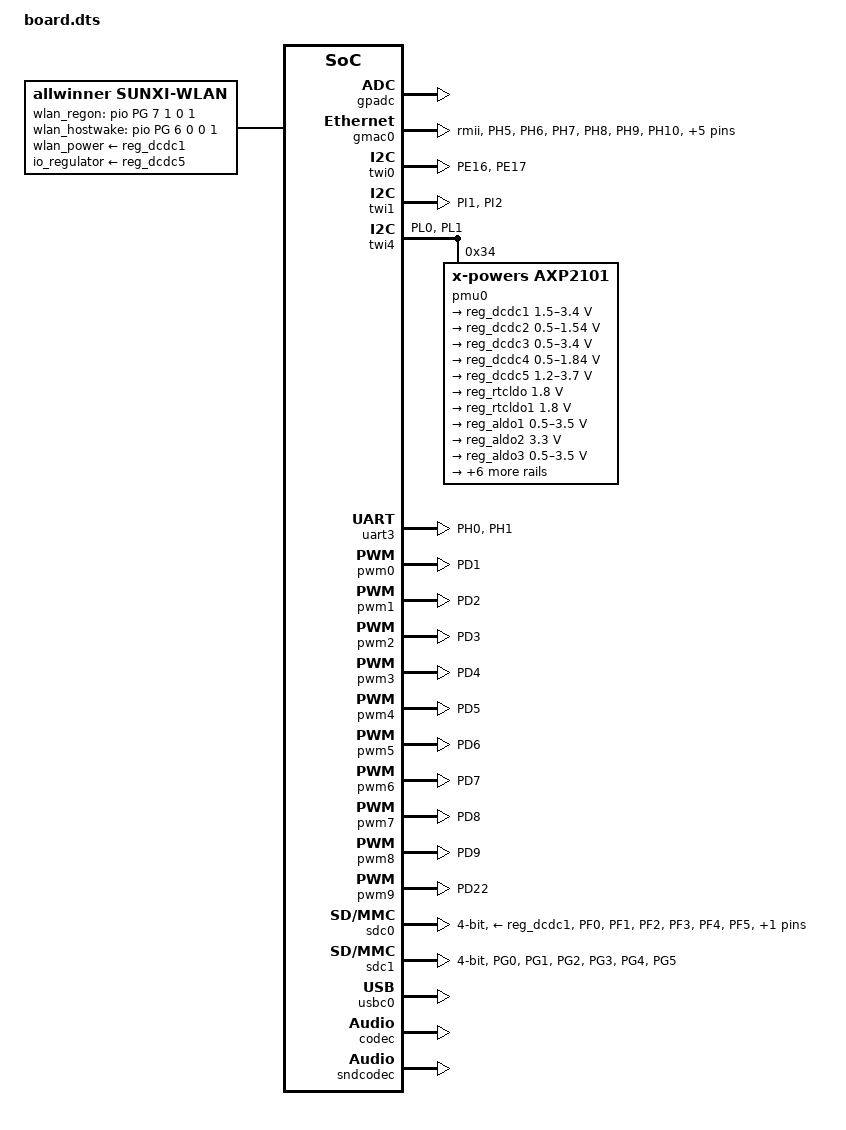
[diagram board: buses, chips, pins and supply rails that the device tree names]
/*
 * Allwinner Technology CO., Ltd. sun8iw19p1 soc board.
 *
 * soc board support.
 */

/dts-v1/;

#include "sun8iw19p1.dtsi"

/{
	aliases {
		pmu0 = &pmu0;
		standby_param = &standby_param;
	};

	dram: dram {
		dram_clk = <0x000001e0>;
		dram_type = <0x00000003>;
		dram_zq = <0x00003bfb>;
		dram_odt_en = <0x00000001>;
		dram_para1 = <0x004310f2>;
		dram_para2 = <0x02000000>;
		dram_mr0 = <0x00001c70>;
		dram_mr1 = <0x00000000>;
		dram_mr2 = <0x00000018>;
		dram_mr3 = <0x00000000>;
		dram_tpr0 = <0x0046190d>;
		dram_tpr1 = <0x0121210a>;
		dram_tpr2 = <0x0005403b>;
		dram_tpr3 = <0x00002006>;
		dram_tpr4 = <0x05040405>;
		dram_tpr5 = <0x05050302>;
		dram_tpr6 = <0x90006644>;
		dram_tpr7 = <0x42c21590>;
		dram_tpr8 = <0xd05612c0>;
		dram_tpr9 = <0x00083def>;
		dram_tpr10 = <0x00000000>;
		dram_tpr11 = <0x00210000>;
		dram_tpr12 = <0x00000055>;
		dram_tpr13 = <0x00006003>;
	};

	opp_dvfs_table:opp_dvfs_table {
		cluster_num = <1>;
		opp_table_count = <1>;

		cpu_opp_l_table0: opp_l_table0 {
			/* compatible = "operating-points-v2"; */
			compatible = "allwinner,opp_l_table0";
			opp_count = <6>;
			opp-shared;

			op00 {
				opp-hz = /bits/ 64 <600000000>;
				opp-microvolt = <900000>;
				axi-bus-divide-ratio = <3>;
				clock-latency-ns = <2000000>;
			};

			opp01 {
				opp-hz = /bits/ 64 <816000000>;
				opp-microvolt = <900000>;
				axi-bus-divide-ratio = <3>;
				clock-latency-ns = <2000000>;
			};

			opp02 {
				opp-hz = /bits/ 64 <912000000>;
				opp-microvolt = <900000>;
				axi-bus-divide-ratio = <3>;
				clock-latency-ns = <2000000>;
			};

			opp03 {
				opp-hz = /bits/ 64 <1008000000>;
				opp-microvolt = <900000>;
				axi-bus-divide-ratio = <3>;
				clock-latency-ns = <2000000>;
			};

			opp04 {
				opp-hz = /bits/ 64 <1104000000>;
				opp-microvolt = <1000000>;
				axi-bus-divide-ratio = <3>;
				clock-latency-ns = <2000000>;
			};
			opp05 {
				opp-hz = /bits/ 64 <1200000000>;
				opp-microvolt = <1000000>;
				axi-bus-divide-ratio = <3>;
				clock-latency-ns = <2000000>;
			};
		};
	};

	cpus {
		cpu@0 {
			cpu-supply = <&reg_dcdc3>;
		};
	};
	soc@03000000 {

		r_pio: pinctrl@07022000 {
			compatible = "allwinner,sun8iw19p1-r-pinctrl";
			reg = <0x0 0x07022000 0x0 0x400>;
			interrupts = <GIC_SPI 106 4>;
			clocks = <&clk_cpurpio>;
			device_type = "r_pio";
			gpio-controller;
			interrupt-controller;
			#interrupt-cells = <3>;
			#size-cells = <0>;
			#gpio-cells = <6>;

			s_twi0_pins_a: s_twi0@0 {
				allwinner,pins = "PL0", "PL1";
				allwinner,function = "s_twi0";
				allwinner,muxsel = <3>;
				allwinner,drive = <1>;
				allwinner,pull = <1>;
			};

			s_twi0_pins_b: s_twi0@1 {
				allwinner,pins = "PL0", "PL1";
				allwinner,function = "io_disabled";
				allwinner,muxsel = <7>;
				allwinner,drive = <1>;
				allwinner,pull = <0>;
			};

		};

		pinctrl@0300b000 {

			twi0_pins_a: twi0@0 {
				allwinner,pins = "PE16", "PE17";
				allwinner,pname = "twi0_scl", "twi0_sda";
				allwinner,function = "twi0";
				allwinner,muxsel = <5>;
				allwinner,drive = <1>;
				allwinner,pull = <0>;
			};

			twi0_pins_b: twi0@1 {
				allwinner,pins = "PE16", "PE17";
				allwinner,function = "io_disabled";
				allwinner,muxsel = <7>;
				allwinner,drive = <1>;
				allwinner,pull = <0>;
			};

			twi1_pins_a: twi1@0 {
				allwinner,pins = "PI1", "PI2";
				allwinner,pname = "twi1_scl", "twi1_sda";
				allwinner,function = "twi1";
				allwinner,muxsel = <5>;
				allwinner,drive = <1>;
				allwinner,pull = <0>;
			};

			twi1_pins_b: twi1@1 {
				allwinner,pins = "PI1", "PI2";
				allwinner,function = "io_disabled";
				allwinner,muxsel = <7>;
				allwinner,drive = <1>;
				allwinner,pull = <0>;
			};

			twi2_pins_a: twi2@0 {
				allwinner,pins = "PH5", "PH6";
				allwinner,pname = "twi2_scl", "twi2_sda";
				allwinner,function = "twi2";
				allwinner,muxsel = <4>;
				allwinner,drive = <1>;
				allwinner,pull = <0>;
			};

			twi2_pins_b: twi2@1 {
				allwinner,pins = "PH5", "PH6";
				allwinner,function = "io_disabled";
				allwinner,muxsel = <7>;
				allwinner,drive = <1>;
				allwinner,pull = <0>;
			};

			twi3_pins_a: twi3@0 {
				allwinner,pins = "PH13", "PH14";
				allwinner,pname = "twi3_scl", "twi3_sda";
				allwinner,function = "twi3";
				allwinner,muxsel = <5>;
				allwinner,drive = <1>;
				allwinner,pull = <0>;
			};

			twi3_pins_b: twi3@1 {
				allwinner,pins = "PH13", "PH14";
				allwinner,function = "io_disabled";
				allwinner,muxsel = <7>;
				allwinner,drive = <1>;
				allwinner,pull = <0>;
			};

			spi0_pins_a: spi0@0 {
				allwinner,pins = "PC0", "PC2", "PC3",
						"PC5", "PC4";
				allwinner,pname = "spi0_sclk", "spi0_mosi",
						  "spi0_miso", "spi0_hold", "spi0_wp";
				allwinner,function = "spi0";
				allwinner,muxsel = <4>;
				allwinner,drive = <1>;
				allwinner,pull = <0>;
			};

			spi0_pins_b: spi0@1 {
				allwinner,pins = "PC1", "PC6";
				allwinner,pname = "spi0_cs0", "spi0_cs1";
				allwinner,function = "spi0";
				allwinner,muxsel = <4>;
				allwinner,drive = <1>;
				allwinner,pull = <1>; 	// only CS should be pulled up
			};

			spi0_pins_c: spi0@2 {
				allwinner,pins = "PC0", "PC1", "PC2", "PC3",
						"PC4", "PC5", "PC6";
				allwinner,function = "io_disabled";
				allwinner,muxsel = <7>;
				allwinner,drive = <1>;
				allwinner,pull = <0>;
			};

			spi1_pins_a: spi1@0 {
				allwinner,pins = "PH0", "PH1", "PH2";
				allwinner,pname = "spi1_sclk", "spi1_mosi", "spi1_miso";
				allwinner,function = "spi1";
			};

			spi1_pins_b: spi1@1 {
				allwinner,pins = "PH3", "PH4";
				allwinner,pname = "spi1_cs0", "spi1_cs1";
				allwinner,function = "spi1";
			};

			spi1_pins_c: spi1@2 {
				allwinner,pins = "PH0", "PH1", "PH2", "PH3", "PH4";
				allwinner,function = "io_disabled";
			};

			spi2_pins_a: spi2@0 {
				allwinner,pins = "PE18", "PE19", "PE20";
				allwinner,pname = "spi2_sclk", "spi2_mosi","spi2_miso";
				allwinner,function = "spi2";
			};

			spi2_pins_b: spi2@1 {
				allwinner,pins = "PE21";
				allwinner,pname = "spi2_cs0";
				allwinner,function = "spi2";
			};

			spi2_pins_c: spi2@2 {
				allwinner,pins = "PE18", "PE19", "PE20", "PE21";
				allwinner,function = "io_disabled";
			};

			sdc0_pins_a: sdc0@0 {
				allwinner,pins = "PF0", "PF1", "PF2", "PF3",
						"PF4", "PF5";
				allwinner,function = "sdc0";
				allwinner,muxsel = <2>;
				allwinner,drive = <3>;
				allwinner,pull = <1>;
			};

			sdc1_pins_a: sdc1@0 {
				allwinner,pins = "PG0", "PG1", "PG2", "PG3",
						"PG4", "PG5";
				allwinner,function = "sdc1";
				allwinner,muxsel = <2>;
				allwinner,drive = <3>;
				allwinner,pull = <1>;
			};

			sdc2_pins_a: sdc2@0 {
				allwinner,pins = "PC0", "PC1", "PC2", "PC3",
						 "PC4", "PC5", "PC6",
						 "PC7", "PC8", "PC9", "PC10",
						 "PC11";
				allwinner,function = "sdc2";
				allwinner,muxsel = <3>;
				allwinner,drive = <3>;
				allwinner,pull = <1>;
			};

			sdc2_pins_b: sdc2@1 {
				allwinner,pins = "PC11", "PC1", "PC2", "PC3",
						 "PC4", "PC5", "PC6",
						 "PC7", "PC8", "PC9", "PC10";
				allwinner,function = "io_disabled";
				allwinner,muxsel = <7>;
				allwinner,drive = <1>;
				allwinner,pull = <1>;
			};

			sdc2_pins_c: sdc2@2 {
				allwinner,pins = "PC0";
				allwinner,function = "sdc2";
				allwinner,muxsel = <3>;
				allwinner,drive = <2>;
				allwinner,pull = <2>;
			};


			owc0_pins_a: owc0@0 {
				allwinner,pins = "PH4";
				allwinner,pname = "owc0";
				allwinner,function = "owc0";
				allwinner,muxsel = <5>;
				allwinner,drive = <1>;
				allwinner,pull = <0>;
			};

			owc0_pins_b: owc0_sleep@0 {
				allwinner,pins = "PH4";
				allwinner,function = "io_disabled";
				allwinner,muxsel = <7>;
				allwinner,drive = <1>;
				allwinner,pull = <0>;
			};

			pwm0_pins_a: pwm0@0 {
				allwinner,pins = "PD1";
				allwinner,pname = "pwm0_positive";
				allwinner,function = "pwm0";
				allwinner,muxsel = <3>;
				allwinner,drive = <1>;
				allwinner,pull = <0>;
			};

			pwm0_pins_b: pwm0@1 {
				allwinner,pins = "PD1";
				allwinner,function = "io_disabled";
				allwinner,muxsel = <7>;
				allwinner,drive = <1>;
				allwinner,pull = <0>;
			};

			pwm1_pins_a: pwm1@0 {
				allwinner,pins = "PD2";
				allwinner,pname = "pwm1_positive";
				allwinner,function = "pwm1";
				allwinner,muxsel = <3>;
				allwinner,drive = <1>;
				allwinner,pull = <0>;
			};

			pwm1_pins_b: pwm1@1 {
				allwinner,pins = "PD2";
				allwinner,function = "io_disabled";
				allwinner,muxsel = <7>;
				allwinner,drive = <1>;
				allwinner,pull = <0>;
			};

			pwm2_pins_a: pwm2@0 {
				allwinner,pins = "PD3";
				allwinner,pname = "pwm2_positive";
				allwinner,function = "pwm2";
				allwinner,muxsel = <3>;
				allwinner,drive = <1>;
				allwinner,pull = <0>;
			};

			pwm2_pins_b: pwm2@1 {
				allwinner,pins = "PD3";
				allwinner,function = "io_disabled";
				allwinner,muxsel = <7>;
				allwinner,drive = <1>;
				allwinner,pull = <0>;
			};

			pwm3_pins_a: pwm3@0 {
				allwinner,pins = "PD4";
				allwinner,pname = "pwm3_positive";
				allwinner,function = "pwm3";
				allwinner,muxsel = <3>;
				allwinner,drive = <1>;
				allwinner,pull = <0>;
			};

			pwm3_pins_b: pwm3@1 {
				allwinner,pins = "PD4";
				allwinner,function = "io_disabled";
				allwinner,muxsel = <7>;
				allwinner,drive = <1>;
				allwinner,pull = <0>;
			};

			pwm4_pins_a: pwm4@0 {
				allwinner,pins = "PD5";
				allwinner,pname = "pwm4_positive";
				allwinner,function = "pwm4";
				allwinner,muxsel = <3>;
				allwinner,drive = <1>;
				allwinner,pull = <0>;
			};

			pwm4_pins_b: pwm4@1 {
				allwinner,pins = "PD5";
				allwinner,function = "io_disabled";
				allwinner,muxsel = <7>;
				allwinner,drive = <1>;
				allwinner,pull = <0>;
			};

			pwm5_pins_a: pwm5@0 {
				allwinner,pins = "PD6";
				allwinner,pname = "pwm5_positive";
				allwinner,function = "pwm5";
				allwinner,muxsel = <3>;
				allwinner,drive = <1>;
				allwinner,pull = <0>;
			};

			pwm5_pins_b: pwm5@1 {
				allwinner,pins = "PD6";
				allwinner,function = "io_disabled";
				allwinner,muxsel = <7>;
				allwinner,drive = <1>;
				allwinner,pull = <0>;
			};

			pwm6_pins_a: pwm6@0 {
				allwinner,pins = "PD7";
				allwinner,pname = "pwm6_positive";
				allwinner,function = "pwm6";
				allwinner,muxsel = <3>;
				allwinner,drive = <1>;
				allwinner,pull = <0>;
			};

			pwm6_pins_b: pwm6@1 {
				allwinner,pins = "PD7";
				allwinner,function = "io_disabled";
				allwinner,muxsel = <7>;
				allwinner,drive = <1>;
				allwinner,pull = <0>;
			};

			pwm7_pins_a: pwm7@0 {
				allwinner,pins = "PD8";
				allwinner,pname = "pwm7_positive";
				allwinner,function = "pwm7";
				allwinner,muxsel = <3>;
				allwinner,drive = <1>;
				allwinner,pull = <0>;
			};

			pwm7_pins_b: pwm7@1 {
				allwinner,pins = "PD8";
				allwinner,function = "io_disabled";
				allwinner,muxsel = <7>;
				allwinner,drive = <1>;
				allwinner,pull = <0>;
			};

			pwm8_pins_a: pwm8@0 {
				allwinner,pins = "PD9";
				allwinner,pname = "pwm8_positive";
				allwinner,function = "pwm8";
				allwinner,muxsel = <3>;
				allwinner,drive = <1>;
				allwinner,pull = <0>;
			};

			pwm8_pins_b: pwm8@1 {
				allwinner,pins = "PD9";
				allwinner,function = "io_disabled";
				allwinner,muxsel = <7>;
				allwinner,drive = <1>;
				allwinner,pull = <0>;
			};

			pwm9_pins_a: pwm9@0 {
				allwinner,pins = "PD22";
				allwinner,pname = "pwm9_positive";
				allwinner,function = "pwm9";
				allwinner,muxsel = <2>;
				allwinner,drive = <1>;
				allwinner,pull = <0>;
			};

			pwm9_pins_b: pwm9@1 {
				allwinner,pins = "PD22";
				allwinner,function = "io_disabled";
				allwinner,muxsel = <7>;
				allwinner,drive = <1>;
				allwinner,pull = <0>;
			};

            gmac_pins_a: gmac@0 {
                allwinner,pins = "PH5", "PH6", "PH7", "PH8",
                         "PH9", "PH10", "PH11", "PH12";
                allwinner,function = "rmii";
                allwinner,muxsel = <3>;
                allwinner,drive = <3>;
                allwinner,pull = <0>;
            };

            gmac_pins_b: gmac@1 {
                allwinner,pins = "PH13";
                allwinner,function = "mdc";
                allwinner,muxsel = <3>;
                allwinner,drive = <3>;
                allwinner,pull = <0>;
            };

            gmac_pins_c: gmac@2 {
                allwinner,pins = "PH14";
                allwinner,function = "mdio";
                allwinner,muxsel = <3>;
                allwinner,drive = <3>;
                allwinner,pull = <0>;
            };

            gmac_pins_d: gmac@3 {
                allwinner,pins = "PH15";
                allwinner,function = "ephy_25m";
                allwinner,muxsel = <3>;
                allwinner,drive = <3>;
                allwinner,pull = <0>;
            };

            gmac_pins_e: gmac@4 {
                allwinner,pins = "PH5", "PH6", "PH7", "PH8",
                         "PH9", "PH10", "PH11", "PH12",
                         "PH13", "PH14", "PH15";
                allwinner,function = "io_disabled";
                allwinner,muxsel = <7>;
                allwinner,drive = <1>;
                allwinner,pull = <0>;
            };

            uart3_pins_a: uart3@0 {
                allwinner,pins = "PH0", "PH1";
                allwinner,pname = "uart3_tx", "uart3_rx";
                allwinner,function = "uart3";
                allwinner,muxsel = <5>;
                allwinner,drive = <1>;
                allwinner,pull = <1>;
            };

            uart3_pins_b: uart3@1 {
                allwinner,pins = "PH0", "PH1";
                allwinner,function = "io_disabled";
                allwinner,muxsel = <7>;
                allwinner,drive = <1>;
                allwinner,pull = <0>;
            };

		};
/*
resistance gpadc configuration
channel_num:   Maxinum number of channels supported on the platform.
channel_select:   channel enable setection. channel0:0x01  channel1:0x02 channel2:0x04 channel3:0x08
channel_data_select:  channel data enable.  channel0:0x01  channel1:0x02 channel2:0x04 channel3:0x08.
channel_compare_select:   compare function enable channel0:0x01  channel1:0x02 channel2:0x04 channel3:0x08.
channel_cld_select:  compare function low data enable setection: channel0:0x01  channel1:0x02 channel2:0x04 channel3:0x08.
channel_chd_select:  compare function hig data enable setection: channel0:0x01  channel1:0x02 channel2:0x04 channel3:0x08.
*/
		gpadc:gpadc{
			channel_num = <1>;
			channel_select = <0x01>;
			channel_data_select = <0>;
			channel_compare_select = <0x01>;
			channel_cld_select = <0x01>;
			channel_chd_select = <0>;
			channel0_compare_lowdata = <1700000>;
			channel0_compare_higdata = <1200000>;
			channel1_compare_lowdata = <460000>;
			channel1_compare_higdata = <1200000>;
			key_cnt = <5>;
			key0_vol = <210>;
			key0_val = <115>;
			key1_vol = <410>;
			key1_val = <114>;
			key2_vol = <590>;
			key2_val = <139>;
			key3_vol = <750>;
			key3_val = <28>;
			key4_vol = <880>;
			key4_val = <102>;
			status = "okay";
		};

		gmac0: eth@05020000 {
			compatible = "allwinner,sunxi-gmac";
			pinctrl-names = "default", "sleep";
			pinctrl-0 = <&gmac_pins_a &gmac_pins_b &gmac_pins_c &gmac_pins_d>;
			pinctrl-1 = <&gmac_pins_e>;
			phy-mode = "rmii";
			use_ephy25m = <1>;
			tx-delay = <7>;
			rx-delay = <31>;
			phy-rst = <&pio PH 4 1 1 1 0>;
			gmac-power0;
			gmac-power1;
			gmac-power2;
			status = "okay";
		};

		twi0: twi@0x05002000 {
			pinctrl-0 = <&twi0_pins_a>;
			pinctrl-1 = <&twi0_pins_b>;
			twi_drv_used = <1>;
			status = "okay";
		};

		twi1: twi@0x05002400 {
			pinctrl-0 = <&twi1_pins_a>;
			pinctrl-1 = <&twi1_pins_b>;
			twi_drv_used = <0>;
			status = "okay";
		};

		twi2: twi@0x05002800 {
			pinctrl-0 = <&twi2_pins_a>;
			pinctrl-1 = <&twi2_pins_b>;
			twi_drv_used = <0>;
			status = "disable";
		};

		twi3: twi@0x05002c00 {
			pinctrl-0 = <&twi3_pins_a>;
			pinctrl-1 = <&twi3_pins_b>;
			twi_drv_used = <0>;
			status = "disable";
		};
		twi4: twi@0x07081400 {
			pinctrl-0 = <&s_twi0_pins_a>;
			pinctrl-1 = <&s_twi0_pins_b>;
			status = "okay";
		};

		twi4: twi@0x07081400{
			status = "okay";
			no_suspend = <1>;
			twi_drv_used = <1>;
			pmu0: pmu@0{
				compatible = "x-powers,axp2101";
				reg = <0x34>;
				#address-cells = <1>;
				#size-cells = <0>;
				interrupts = <0 IRQ_TYPE_LEVEL_LOW>;
				interrupt-parent = <&nmi_intc>;
				status = "okay";
				wakeup-source;

				charger0: charger@0{
					compatible = "x-powers,axp2101-power-supply";
					param = <&axp2101_parameter>;
					status = "okay";
					pmu_chg_ic_temp = <0>;
					pmu_battery_cap = <888>;
					pmu_runtime_chgcur = <1000>;
					pmu_suspend_chgcur = <1500>;
					pmu_shutdown_chgcur = <1500>;
					pmu_init_chgvol = <4200>;
					pmu_usbpc_cur = <2000>;
					pmu_battery_warning_level1 = <15>;
					pmu_battery_warning_level2 = <0x0>;
					pmu_chgled_type = <0x0>;

					wakeup_usb_in;
					wakeup_usb_out;
					wakeup_bat_out;
					/* wakeup_bat_in; */
					/* wakeup_bat_charging; */
					/* wakeup_bat_charge_over; */
					/* wakeup_low_warning1; */
					/* wakeup_low_warning2; */
					/* wakeup_bat_untemp_work; */
					/* wakeup_bat_ovtemp_work; */
					/* wakeup_bat_untemp_chg; */
					/* wakeup_bat_ovtemp_chg; */


				};

				powerkey0: powerkey@0{
					status = "okay";
					compatible = "x-powers,axp2101-pek";
					pmu_powkey_off_time = <6000>;
					pmu_powkey_off_func = <0>;
					pmu_powkey_off_en = <1>;
					pmu_powkey_long_time = <1500>;
					pmu_powkey_on_time = <512>;
					wakeup_rising;
					/* wakeup_falling; */

				};

				regulator0: regulators@0{
					reg_dcdc1: dcdc1 {
						regulator-name = "axp2101-dcdc1";
						regulator-min-microvolt = <1500000>;
						regulator-max-microvolt = <3400000>;
						regulator-boot-on;
						regulator-always-on;
					};
					reg_dcdc2: dcdc2 {
						regulator-name = "axp2101-dcdc2";
						regulator-min-microvolt = <500000>;
						regulator-max-microvolt = <1540000>;
						regulator-boot-on;
						regulator-always-on;
					};
					reg_dcdc3: dcdc3 {
						regulator-name = "axp2101-dcdc3";
						regulator-min-microvolt = <500000>;
						regulator-max-microvolt = <3400000>;
						regulator-boot-on;
						regulator-always-on;
					};
					reg_dcdc4: dcdc4 {
						regulator-name = "axp2101-dcdc4";
						regulator-min-microvolt = <500000>;
						regulator-max-microvolt = <1840000>;
						regulator-boot-on;
						regulator-always-on;
					};
					reg_dcdc5: dcdc5 {
						regulator-name = "axp2101-dcdc5";
						regulator-min-microvolt = <1200000>;
						regulator-max-microvolt = <3700000>;
					};
					reg_rtcldo: rtcldo {
						/* RTC_LDO is a fixed, always-on regulator */
						regulator-name = "axp2101-rtcldo";
						regulator-min-microvolt = <1800000>;
						regulator-max-microvolt = <1800000>;
						regulator-boot-on;
						regulator-always-on;
					};
					reg_rtcldo1: rtcldo1 {
						regulator-name = "axp2101-rtcldo1";
						regulator-min-microvolt = <1800000>;
						regulator-max-microvolt = <1800000>;
					};
					reg_aldo1: aldo1 {
						regulator-name = "axp2101-aldo1";
						regulator-min-microvolt = <500000>;
						regulator-max-microvolt = <3500000>;
						regulator-boot-on;
						regulator-always-on;
					};
					reg_aldo2: aldo2 {
						regulator-name = "axp2101-aldo2";
					/*	regulator-min-microvolt = <500000>;
						regulator-max-microvolt = <3500000>;*/
						regulator-min-microvolt = <3300000>;
						regulator-max-microvolt = <3300000>;
						regulator-always-on;
					};
					reg_aldo3: aldo3 {
						regulator-name = "axp2101-aldo3";
						regulator-min-microvolt = <500000>;
						regulator-max-microvolt = <3500000>;
						regulator-boot-on;
					};
					reg_aldo4: aldo4 {
						regulator-name = "axp2101-aldo4";
						regulator-min-microvolt = <1800000>;
						regulator-max-microvolt = <1800000>;
						regulator-boot-on;
						regulator-always-on;
					};
					reg_bldo1: bldo1 {
						regulator-name = "axp2101-bldo1";
						regulator-min-microvolt = <500000>;
						regulator-max-microvolt = <3500000>;
						regulator-boot-on;
						regulator-always-on;
					};
					reg_bldo2: bldo2 {
						regulator-name = "axp2101-bldo2";
						regulator-min-microvolt = <500000>;
						regulator-max-microvolt = <3500000>;
					};
					reg_dldo1: dldo1 {
						regulator-name = "axp2101-dldo1";
						regulator-min-microvolt = <500000>;
						regulator-max-microvolt = <3500000>;
					};
					reg_dldo2: dldo2 {
						regulator-name = "axp2101-dldo2";
						regulator-min-microvolt = <500000>;
						regulator-max-microvolt = <1400000>;
					};
					reg_cpusldo: cpusldo {
						regulator-name = "axp2101-cpusldo";
						regulator-min-microvolt = <500000>;
						regulator-max-microvolt = <1400000>;
					};
				};

				virtual-dcdc1 {
					compatible = "xpower-vregulator,dcdc1";
					dcdc1-supply = <&reg_dcdc1>;
				};
				virtual-dcdc2 {
					compatible = "xpower-vregulator,dcdc2";
					dcdc2-supply = <&reg_dcdc2>;
				};
				virtual-dcdc3 {
					compatible = "xpower-vregulator,dcdc3";
					dcdc3-supply = <&reg_dcdc3>;
				};

				virtual-dcdc4 {
					compatible = "xpower-vregulator,dcdc4";
					dcdc4-supply = <&reg_dcdc4>;
				};
				virtual-dcdc5 {
					compatible = "xpower-vregulator,dcdc5";
					dcdc5-supply = <&reg_dcdc5>;
				};

				virtual-aldo1 {
					compatible = "xpower-vregulator,aldo1";
					aldo1-supply = <&reg_aldo1>;
				};
				virtual-aldo2 {
					compatible = "xpower-vregulator,aldo2";
					aldo2-supply = <&reg_aldo2>;
				};
				virtual-aldo3 {
					compatible = "xpower-vregulator,aldo3";
					aldo3-supply = <&reg_aldo3>;
				};
				virtual-aldo4 {
					compatible = "xpower-vregulator,aldo4";
					aldo4-supply = <&reg_aldo4>;
				};

				virtual-bldo1 {
					compatible = "xpower-vregulator,bldo1";
					bldo1-supply = <&reg_bldo1>;
				};
				virtual-bldo2 {
					compatible = "xpower-vregulator,bldo2";
					bldo2-supply = <&reg_bldo2>;
				};

				virtual-dldo1 {
					compatible = "xpower-vregulator,dldo1";
					dldo1-supply = <&reg_dldo1>;
				};
				virtual-dldo2 {
					compatible = "xpower-vregulator,dldo2";
					dldo2-supply = <&reg_dldo2>;
				};

				axp_gpio0: axp_gpio@0{
					gpio-controller;
					#size-cells = <0>;
					#gpio-cells = <6>;
					status = "okay";
				};

			};
		};

		standby_param: standby_param {
			vdd-cpu = <0x4>;
			vdd-sys = <0x4>;
			vcc-io = <0x1>;
			vcc-pll = <0x80>;
		};

		spi@05010000 {
			pinctrl-0 = <&spi0_pins_a &spi0_pins_b>;
			pinctrl-1 = <&spi0_pins_c>;
			spi-supply = <&reg_dcdc1>;
			status = "disabled";
			/*if use spi-nand ,pls open spi status and spi-nand status
			  if use spi-nor, pls open spi status and close spi-nand status*/
			spi-nand {
				compatible = "spi-nand";
				spi-max-frequency = <0x5f5e100>;
				reg = <0x0>;
				spi-rx-bus-width = <0x04>;
				spi-tx-bus-width = <0x04>;
				status = "disabled";
			};
			spi_board0 {
				device_type = "spi_board0";
				compatible = "m25p80";
				spi-max-frequency = <0x2faf080>;
				reg = <0x0>;
				spi-rx-bus-width = <0x1>;
				spi-tx-bus-width = <0x1>;
			};
		};

		spi@05011000 {
			pinctrl-0 = <&spi1_pins_a &spi1_pins_b>;
			pinctrl-1 = <&spi1_pins_c>;
			spi_slave_mode = <0>;
			spi-supply = <&reg_dcdc1>;
			status = "disable";
			spi_board1 {
				device_type = "spi_board1";
				compatible = "rohm,dh2228fv";
				spi-max-frequency = <0x5f5e100>;
				reg = <0x0>;
				spi-rx-bus-width = <0x1>;
				spi-tx-bus-width = <0x1>;
			};
		};

		spi@05012000 {
			pinctrl-0 = <&spi2_pins_a &spi2_pins_b>;
			pinctrl-1 = <&spi2_pins_c>;
			spi_slave_mode = <0>;
			status = "disabled";
			spi-supply = <&reg_aldo2>;
			spi_board2 {
				device_type = "spi_board2";
				compatible = "rohm,dh2228fv";
				spi-max-frequency = <0x5f5e100>;
				reg = <0x0>;
				spi-rx-bus-width = <0x1>;
				spi-tx-bus-width = <0x1>;
			};
		};

        uart3: uart@05000c00 {
            compatible = "allwinner,sun8i-uart";
            device_type = "uart3";
            pinctrl-names = "default", "sleep";
            pinctrl-0 = <&uart3_pins_a>;
            pinctrl-1 = <&uart3_pins_b>;
            uart3_port = <3>;
            uart3_type = <2>;
            status = "okay";
        };

		s_owc0: s_owc@07040400 {
			pinctrl-0 = <&owc0_pins_a>;
			pinctrl-1 = <&owc0_pins_b>;
			status = "okay";
		};

		pwm0: pwm0@0300a000 {
			pinctrl-0 = <&pwm0_pins_a>;
			pinctrl-1 = <&pwm0_pins_b>;
			status = "okay";
		};

		pwm1: pwm1@0300a000 {
			pinctrl-0 = <&pwm1_pins_a>;
			pinctrl-1 = <&pwm1_pins_b>;
			status = "okay";
		};

		pwm2: pwm2@0300a000 {
			pinctrl-0 = <&pwm2_pins_a>;
			pinctrl-1 = <&pwm2_pins_b>;
			status = "okay";
		};

		pwm3: pwm3@0300a000 {
			pinctrl-0 = <&pwm3_pins_a>;
			pinctrl-1 = <&pwm3_pins_b>;
			status = "okay";
		};

		pwm4: pwm4@0300a000 {
			pinctrl-0 = <&pwm4_pins_a>;
			pinctrl-1 = <&pwm4_pins_b>;
			status = "okay";
		};

		pwm5: pwm5@0300a000 {
			pinctrl-0 = <&pwm5_pins_a>;
			pinctrl-1 = <&pwm5_pins_b>;
			status = "okay";
		};

		pwm6: pwm6@0300a000 {
			pinctrl-0 = <&pwm6_pins_a>;
			pinctrl-1 = <&pwm6_pins_b>;
			status = "okay";
		};

		pwm7: pwm7@0300a000 {
			pinctrl-0 = <&pwm7_pins_a>;
			pinctrl-1 = <&pwm7_pins_b>;
			status = "okay";
		};

		pwm8: pwm8@0300a000 {
			pinctrl-0 = <&pwm8_pins_a>;
			pinctrl-1 = <&pwm8_pins_b>;
			status = "okay";
		};

		pwm9: pwm9@0300a000 {
			pinctrl-0 = <&pwm9_pins_a>;
			pinctrl-1 = <&pwm9_pins_b>;
			status = "okay";
		};

		sdc0: sdmmc@04020000 {
			pinctrl-0 = <&sdc0_pins_a>;
			bus-width = <4>;
			cd-gpios = <&pio PF 6 0 1 3 0xffffffff>;
			card-pwr-gpios = <&pio PH 2 1 1 2 0xffffffff>;
			sunxi-power-save-mode;
			/*sunxi-dis-signal-vol-sw;*/
			sd-uhs-sdr50;
			/*sd-uhs-ddr50;*/
			sd-uhs-sdr104;
			cap-sd-highspeed;
			cd-used-24M;
			/*sunxi-dis-signal-vol-sw;*/
			max-frequency = <150000000>;
			no-sdio;
			/*broken-cd;*/
			ctl-spec-caps = <0x8>;
			status = "okay";
			vmmc-supply = <&reg_dcdc1>;
			/*vqmmc-supply = <&reg_dcdc1>;*/
			/*vdmmc-supply = <&reg_dcdc1>;*/
			vqmmc33sw-supply = <&reg_dcdc1>;
			vdmmc33sw-supply = <&reg_dcdc1>;
			vqmmc18sw-supply = <&reg_bldo1>;
			vdmmc18sw-supply = <&reg_bldo1>;
		};

		sdc1: sdmmc@04021000 {
			pinctrl-0 = <&sdc1_pins_a>;
			bus-width = <4>;
			/*sunxi-power-save-mode;*/
			/*sd-uhs-sdr12*/
			/*sd-uhs-sdr25*/
			/*sd-uhs-sdr50*/
			/*sd-uhs-sdr104*/
			/*sunxi-dis-signal-vol-sw;*/
			cap-sdio-irq;
			keep-power-in-suspend;
			ignore-pm-notify;
			max-frequency = <50000000>;
			status = "okay";
		};

		sdc2: sdmmc@04022000 {
			pinctrl-0 = <&sdc2_pins_a &sdc2_pins_c>;
			non-removable;
			bus-width = <8>;
			/*mmc-ddr-1_8v;*/
			/*mmc-hs200-1_8v;*/
			/*mmc-hs400-1_8v;*/
			no-sdio;
			no-sd;
			cap-mmc-highspeed;
			sunxi-power-save-mode;
			sunxi-dis-signal-vol-sw;
			max-frequency = <50000000>;
			status = "disable";
			vmmc-supply = <&reg_dcdc1>;
			/*1.8V select bldo1*/
			/*vqmmc-supply = <&reg_bldo1>;*/
			/*3.3V select dcdc1*/
			vqmmc-supply = <&reg_dcdc1>;
		};

		usbc0:usbc0@0{
			usb_port_type = <0>;
			usb_detect_type = <0>;
			usb_detect_mode = <0>;
			usb_id_gpio;
			usb_det_vbus_gpio;
			usb_drv_vbus_gpio;
			usb_host_init_state = <0>;
			status = "okay";
		};

		vind0:vind@0 {
			vind0_clk = <336000000>;
			vind0_isp = <300000000>;
			status = "okay";

			actuator0:actuator@0 {
				device_type = "actuator0";
				actuator0_name = "ad5820_act";
				actuator0_slave = <0x18>;
				actuator0_af_pwdn = <>;
				actuator0_afvdd = "afvcc-csi";
				actuator0_afvdd_vol = <2800000>;
				status = "disabled";
			};
			flash0:flash@0 {
				device_type = "flash0";
				flash0_type = <2>;
				flash0_en = <>;
				flash0_mode = <>;
				flash0_flvdd = "";
				flash0_flvdd_vol = <>;
				device_id = <0>;
				status = "disabled";
			};
			sensor0:sensor@0 {
				device_type = "sensor0";
				sensor0_mname = "imx307_mipi";
				sensor0_twi_cci_id = <1>;
				sensor0_twi_addr = <0x34>;
				sensor0_mclk_id = <0>;
				sensor0_pos = "rear";
				sensor0_isp_used = <1>;
				sensor0_fmt = <1>;
				sensor0_stby_mode = <0>;
				sensor0_vflip = <0>;
				sensor0_hflip = <0>;
				sensor0_iovdd-supply = <&reg_aldo2>;
				sensor0_iovdd_vol = <1800000>;
				sensor0_avdd-supply = <>;
				sensor0_avdd_vol = <2800000>;
				sensor0_dvdd-supply = <&reg_dldo2>;
				sensor0_dvdd_vol = <1200000>;
				sensor0_power_en = <>;
				sensor0_reset = <&pio PI 3 1 0 1 0>;
				sensor0_pwdn = <&pio PI 4 1 0 1 0>;
				status	= "okay";
			};
			sensor1:sensor@1 {
				device_type = "sensor1";
				sensor1_mname = "bt656_bt1120_in";
				sensor1_twi_cci_id = <0>;
				sensor1_twi_addr = <0x20>;
				sensor1_mclk_id = <1>;
				sensor1_pos = "front";
				sensor1_isp_used = <0>;
				sensor1_fmt = <0>;
				sensor1_stby_mode = <0>;
				sensor1_vflip = <0>;
				sensor1_hflip = <0>;
				sensor1_iovdd-supply = <>;
				sensor1_iovdd_vol = <2800000>;
				sensor1_avdd-supply = <>;
				sensor1_avdd_vol = <2800000>;
				sensor1_dvdd-supply = <>;
				sensor1_dvdd_vol = <1200000>;
				sensor1_power_en = <>;
				sensor1_reset = <>;
				sensor1_pwdn = <>;
				status	= "okay";
			};
			vinc0:vinc@0 {
				vinc0_csi_sel = <0>;
				vinc0_mipi_sel = <0>;
				vinc0_isp_sel = <0>;
				vinc0_isp_tx_ch = <0>;
				vinc0_rear_sensor_sel = <0>;
				vinc0_front_sensor_sel = <0>;
				vinc0_sensor_list = <0>;
				status = "okay";
			};
			vinc1:vinc@1 {
				vinc1_csi_sel = <0>;
				vinc1_mipi_sel = <0>;
				vinc1_isp_sel = <0>;
				vinc1_isp_tx_ch = <0>;
				vinc1_rear_sensor_sel = <0>;
				vinc1_front_sensor_sel = <0>;
				vinc1_sensor_list = <0>;
				status = "okay";
			};
			vinc2:vinc@2 {
				vinc2_csi_sel = <1>;
				vinc2_mipi_sel = <0>;
				vinc2_isp_sel = <1>;
				vinc2_isp_tx_ch = <0>;
				vinc2_rear_sensor_sel = <1>;
				vinc2_front_sensor_sel = <1>;
				vinc2_sensor_list = <0>;
				status = "okay";
			};
			vinc3:vinc@3 {
				vinc3_csi_sel = <1>;
				vinc3_mipi_sel = <0>;
				vinc3_isp_sel = <1>;
				vinc3_isp_tx_ch = <0>;
				vinc3_rear_sensor_sel = <1>;
				vinc3_front_sensor_sel = <1>;
				vinc3_sensor_list = <0>;
				status = "okay";
			};
		};

		disp: disp@01000000 {
			disp_init_enable         = <1>;
			disp_mode                = <0>;

			screen0_output_type      = <1>;
			screen0_output_mode      = <4>;

			disp_rotation_used = <1>;
			degree0 = <1>;
			fb0_format               = <0>;
			fb0_width                = <1280>;
			fb0_height               = <720>;

			lcd0_backlight           = <50>;
			lcd0_bright              = <50>;
			lcd0_contrast            = <50>;
			lcd0_saturation          = <57>;
			lcd0_hue                 = <50>;
			dldo1-supply = <&reg_dldo1>;
			bldo1-supply = <&reg_bldo1>;
			dcdc1-supply = <&reg_dcdc1>;
			aldo3-supply = <&reg_aldo3>;
		};

		/*
		NOTE: Please connect RL45 resistance (default is NC)
		lcd0: lcd0@01c0c000 {

			lcd_used            = <1>;
			lcd_driver_name     = "he0801a068";

			lcd_backlight       = <100>;
			lcd_if              = <4>;
			lcd_x               = <800>;
			lcd_y               = <1280>;
			lcd_width           = <52>;
			lcd_height          = <52>;
			lcd_dclk_freq       = <78>;

			lcd_pwm_used        = <1>;
			lcd_pwm_ch          = <9>;
			lcd_pwm_freq        = <50000>;
			lcd_pwm_pol         = <1>;
			lcd_pwm_max_limit   = <255>;

			lcd_hbp             = <149>;
			lcd_ht              = <978>;
			lcd_hspw            = <16>;
			lcd_vbp             = <7>;
			lcd_vt              = <1329>;
			lcd_vspw            = <5>;

			lcd_dsi_if          = <0>;
			lcd_dsi_lane        = <4>;
			lcd_dsi_format      = <0>;
			lcd_dsi_te          = <0>;
			lcd_dsi_eotp          = <0>;

			lcd_frm             = <0>;
			lcd_io_phase        = <0x0000>;
			lcd_hv_clk_phase    = <0>;
			lcd_hv_sync_polarity= <0>;
			lcd_gamma_en        = <0>;
			lcd_bright_curve_en = <0>;
			lcd_cmap_en         = <0>;

			lcdgamma4iep        = <22>;

			lcd_dsi_port_num    = <0>;
			lcd_tcon_mode       = <0>;
			lcd_slave_stop_pos  = <0>;
			lcd_sync_pixel_num  = <0>;
			lcd_sync_line_num   = <0>;

			lcd_power            = "dldo1";
			lcd_pin_power        = "bldo1";
			lcd_pin_power1    	= "dcdc1";
			lcd_pin_power2    	= "aldo3";

			lcd_bl_en = <&r_pio PL 2 1 0 3 1>;
			lcd_gpio_0 = <&r_pio PL 3 1 0 3 1>;
			lcd_gpio_1 = <&r_pio PL 4 1 0 3 1>;
		};
		*/

		lcd0: lcd0@01c0c000 {
			lcd_used            = <1>;

			lcd_driver_name     = "lx50hdi4002";

			lcd_backlight       = <150>;

			lcd_if              = <4>;

			lcd_x               = <720>;
			lcd_y               = <1280>;
			lcd_width           = <65>;
			lcd_height          = <118>;

			lcd_dclk_freq       = <56>;

			lcd_pwm_used        = <1>;
			lcd_pwm_ch          = <9>;
			lcd_pwm_freq        = <50000>;
			lcd_pwm_pol         = <1>;
			lcd_pwm_max_limit   = <255>;

			lcd_hbp             = <20>;
			lcd_ht              = <768>;
			lcd_hspw            = <8>;
			lcd_vbp             = <16>;
			lcd_vt              = <1314>;
			lcd_vspw            = <2>;

			lcd_dsi_if          = <0>;
			lcd_dsi_lane        = <4>;
			lcd_dsi_format      = <0>;
			lcd_dsi_te          = <0>;
			lcd_dsi_eotp        = <0>;

			lcd_frm             = <0>;
			lcd_io_phase        = <0x0000>;
			lcd_hv_clk_phase    = <0>;
			lcd_hv_sync_polarity= <0>;
			lcd_gamma_en        = <0>;
			lcd_bright_curve_en = <0>;
			lcd_cmap_en         = <0>;

			lcdgamma4iep        = <22>;

			lcd_power            = "dcdc1";
			lcd_pin_power        = "bldo1";

			lcd_gpio_0 = <&pio PD 9 1 0 3 1>;
		};

        ctp:ctp {
            device_type = "ctp";
            ctp_name = "gt911_1060";
            ctp_twi_id = <0x0>;
            ctp_twi_addr = <0x5d>;
            ctp_screen_max_x = <1280>;
            ctp_screen_max_y = <720>;
            ctp_revert_x_flag = <1>;
            ctp_revert_y_flag = <1>;
            ctp_exchange_x_y_flag = <0>;
            ctp_int_port = <&pio PC 10 6 0 0 1>;
            ctp_wakeup = <&pio PC 11 1 0 3 1>;

            status = "okay";
        };

		daudio0:daudio@0x05090000 {
			mclk_div = <0x00>;
			frametype = <0x00>;
			tdm_config = <0x01>;
			sign_extend = <0x00>;
			tx_data_mode = <0x00>;
			rx_data_mode = <0x00>;
			msb_lsb_first = <0x00>;
			pcm_lrck_period = <0x80>;
			slot_width_select = <0x20>;
			status = "disabled";
		};

		daudio1:daudio@0x05091000 {
			mclk_div = <0x01>;
			frametype = <0x00>;
			tdm_config = <0x01>;
			sign_extend = <0x00>;
			tx_data_mode = <0x00>;
			rx_data_mode = <0x00>;
			msb_lsb_first = <0x00>;
			pcm_lrck_period = <0x80>;
			slot_width_select = <0x20>;
			status = "disabled";
		};

		codec:codec@0x05096000 {
			pa_level = <0x1>;
			main_gain = <0x17>;
			adcdrc_cfg = <0x00>;
			adchpf_cfg = <0x01>;
			dacdrc_cfg = <0x00>;
			dachpf_cfg = <0x00>;
			digital_vol = <0x00>;
			lineout_vol = <0x1a>;
			pa_msleep_time = <0xa0>;
/* Be careful for this! */
/* The gpio-spk will influence I2S0_DIN pin if it is enabled at PER1 board */
			gpio-spk = <&pio PH 3 1 1 1 1>;
			status = "okay";
		};

		sndcodec:sound@0 {
			status = "okay";
		};

		snddaudio0:sound@1 {
			audio_format = <0x01>;
			daudio_master = <0x04>;
			signal_inversion = <0x01>;
		/*
			sunxi,snddaudio-codec = "ac108.1-003b";
			sunxi,snddaudio-codec-dai = "ac108-pcm0";
		*/
			status = "disabled";
		};

		snddaudio1:sound@2 {
			audio_format = <0x01>;
			daudio_master = <0x04>;
			signal_inversion = <0x01>;
			status = "disabled";
		};
	};

	wlan:wlan {
		compatible = "allwinner,sunxi-wlan";
		clocks = <&clk_losc_out>;
		wlan_busnum = <1>;
		wlan_usbnum = <3>;
		wakeup_source = <0>;

		wlan_power-supply = <&reg_dcdc1>;
		io_regulator-supply = <&reg_dcdc5>;

		wlan_power_vol = <3300000>;
		io_regulator_vol = <3300000>;

		/*wlan_en;*/
		wlan_regon = <&pio PG 7 1 0 1 0>;
		wlan_hostwake = <&pio PG 6 0 0 1 0>;
		status = "okay";
	};
};

/{
	axp2101_parameter:axp2101-parameter {
		select = "battery-model";

		battery-model {
			parameter = /bits/ 8 <0x01 0xF5 0x00 0x00 0xFB 0x00 0x00 0xFB
				0x00 0x1E 0x32 0x01 0x14 0x04 0xD8 0x04
				0x74 0xFD 0x58 0x0B 0xB3 0x10 0x3F 0xFB
				0xC8 0x00 0xBE 0x03 0x4E 0x06 0x3F 0x06
				0x02 0x0A 0xD3 0x0F 0x74 0x0F 0x31 0x09
				0xE5 0x0E 0xB9 0x0E 0xC0 0x04 0xBE 0x04
				0xBB 0x09 0xB4 0x0E 0xA0 0x0E 0x92 0x09
				0x79 0x0E 0x4C 0x0E 0x27 0x03 0xFC 0x03
				0xD5 0x08 0xBC 0x0D 0x9C 0x0D 0x55 0x06
				0xB8 0x2E 0x24 0x2E 0x2E 0x24 0x2E 0x24
				0xC5 0x98 0x7E 0x66 0x4E 0x44 0x38 0x1A
				0x12 0x0A 0xF6 0x00 0x00 0xF6 0x00 0xF6
				0x00 0xFB 0x00 0x00 0xFB 0x00 0x00 0xFB
				0x00 0x00 0xF6 0x00 0x00 0xF6 0x00 0xF6
				0x00 0xFB 0x00 0x00 0xFB 0x00 0x00 0xFB
				0x00 0x00 0xF6 0x00 0x00 0xF6 0x00 0xF6>;
		};
			  };
};
